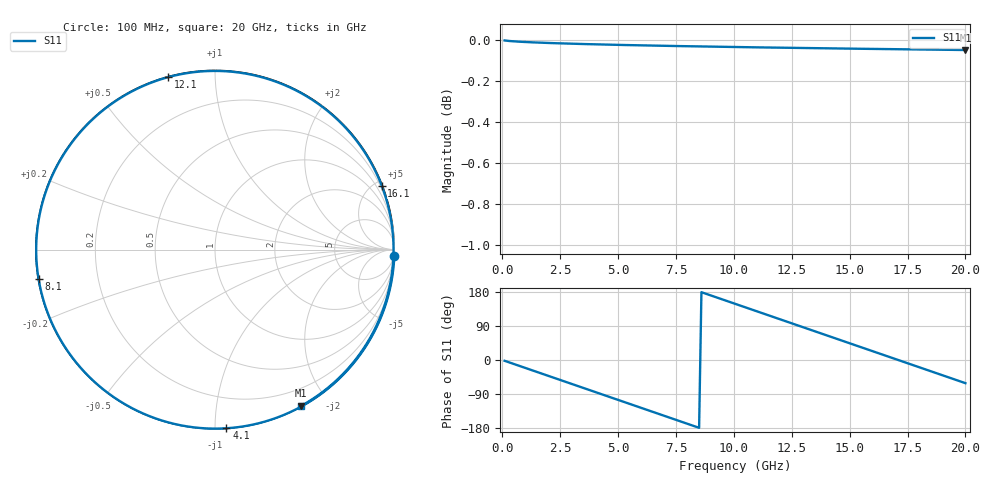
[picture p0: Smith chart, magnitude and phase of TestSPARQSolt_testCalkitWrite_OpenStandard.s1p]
# MHz MA S R 50.0
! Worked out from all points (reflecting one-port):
!   200 points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, 100 MHz to 20 GHz, reference 50 ohm
!   lowest |S11| = 0.0 dB at 20 GHz (marker M1), VSWR 347.55, Z = 0.557 - j84.7 ohm
!   phase of S11 starts at -2 deg and turns -419 deg over the sweep
!   S11 on the Smith chart (normalised r, x): 100 MHz: 1, -54; 4.1 GHz: 0.00, -1.07; 8.1 GHz: 0.00, -0.08; 12.1 GHz: 0.00, +0.76; 16.1 GHz: 0.08, +5.39; 20 GHz: 0.01, -1.69
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100  0.9996 -2.1
700  0.9989 -14.7
1300  0.9985 -27.4
1900  0.9982 -40.0
2600  0.9979 -54.7
3400  0.9976 -71.6
4100  0.9974 -86.3
5100  0.9971 -107.4
5700  0.9969 -120.0
6300  0.9968 -132.6
7000  0.9966 -147.4
7600  0.9965 -160.0
8100  0.9963 -170.5
9100  0.9961 168.4
10100  0.9959 147.3
11100  0.9957 126.3
12100  0.9955 105.2
12600  0.9954 94.7
13200  0.9953 82.1
13800  0.9952 69.4
14400  0.9951 56.8
15100  0.995 42.1
16100  0.9949 21.0
16900  0.9947 4.2
17600  0.9946 -10.6
18700  0.9945 -33.7
19400  0.9943 -48.5
20000  0.9943 -61.1
